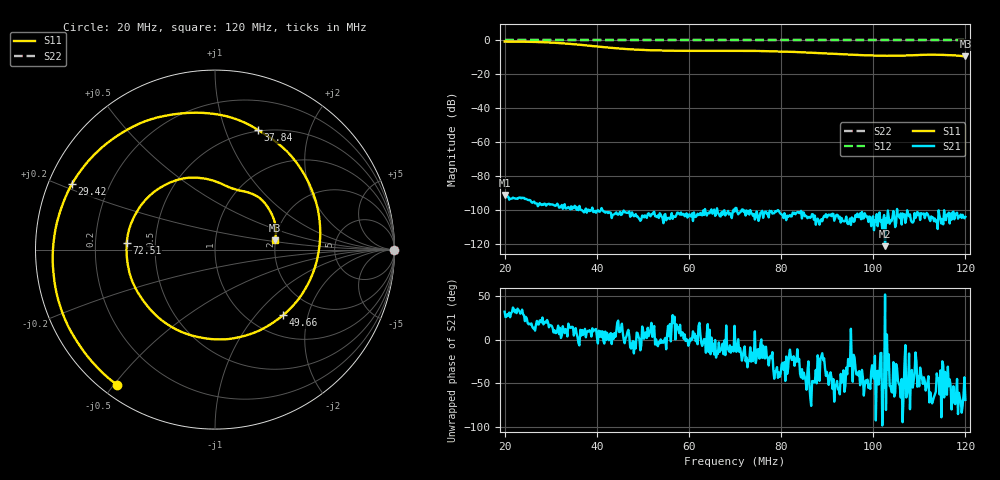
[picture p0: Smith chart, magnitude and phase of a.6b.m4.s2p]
! Anritsu VNA Master:  Model: MS2036C/10/77
! SN:  1601066
! /bd0/18may07/256.ns.m4.s2p
! Existing Calibration Information:
! TYPE:  Current Settings,  Active Cal Settings
! TIME:  05/07/2018 03:05:25 PM,  05/07/2018 02:58:54 PM
! INTERNAL TEMP:  59.5 C,  58.8 C
! # POINTS:  500,  500
! START FREQ:  20.000 MHz,  20.000 MHz
! STOP FREQ:  120.000 MHz,  120.000 MHz
! SOURCE POWER:  High,  High
! IFBW:  50 Hz,  50 Hz
! AVG FACTOR:  1 ,  1
! REF PLANE 1:  0 mm,  0 mm
! REF PLANE 2:  0 mm,  0 mm
! CAL TYPE:  Full S11,  Full S11
! CAL METHOD:  SOLT,  SOLT
! CAL LINE TYPE:  Coax,  Coax
! DUT PORT 1:  K-Conn(F),  K-Conn(F)
! DUT PORT 2:  K-Conn(F),  K-Conn(F)
! CAL STATUS:  OK: Accuracy High,  --
# GHZ S DB R 50.0
! FREQ.GHZ  S11DB  S11A  S21DB  S21A  S12DB  S12A  S22DB  S22A
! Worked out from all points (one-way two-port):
!   500 points, 20 MHz to 120 MHz, reference 50 ohm
!   highest |S21| = -91.01 dB at 20 MHz (marker M1); lowest = -121.2 dB at 102.6 MHz (marker M2)
!   lowest |S11| = -9.5 dB at 120 MHz (marker M3), VSWR 2.02, Z = 98.9 + j11.7 ohm
!   |S11| at or under -10 dB: nowhere
!   |S22| runs from 0.0 to 0.0 dB; largest |S21 - S12| = 1
!   S11 on the Smith chart (normalised r, x): 20 MHz: 0.05, -0.51; 29.42 MHz: 0.07, +0.22; 37.84 MHz: 0.48, +1.30; 49.66 MHz: 1.39, -1.41; 72.51 MHz: 0.34, +0.04; 120 MHz: 1.98, +0.23
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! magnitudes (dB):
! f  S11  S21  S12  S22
! 20 MHz  -0.6  -91.0  0.0  0.0
! 24.61 MHz  -0.7  -93.4  0.0  0.0
! 29.42 MHz  -1.1  -96.4  0.0  0.0
! 33.03 MHz  -1.8  -96.5  0.0  0.0
! 36.83 MHz  -2.7  -100.1  0.0  0.0
! 37.84 MHz  -3.0  -101.5  0.0  0.0
! 44.85 MHz  -4.8  -102.1  0.0  0.0
! 49.66 MHz  -5.6  -105.5  0.0  0.0
! 53.47 MHz  -5.9  -104.6  0.0  0.0
! 63.69 MHz  -6.2  -102.2  0.0  0.0
! 70.1 MHz  -6.1  -98.7  0.0  0.0
! 72.51 MHz  -6.1  -100.2  0.0  0.0
! 79.32 MHz  -6.4  -100.0  0.0  0.0
! 86.73 MHz  -7.2  -102.3  0.0  0.0
! 97.96 MHz  -8.7  -104.8  0.0  0.0
! 102.6 MHz  -9.0  -121.2  0.0  0.0
! 103.4 MHz  -9.0  -104.3  0.0  0.0
! 106 MHz  -9.0  -102.0  0.0  0.0
! 110.8 MHz  -8.5  -102.4  0.0  0.0
! 113 MHz  -8.4  -104.4  0.0  0.0
! 117.2 MHz  -8.7  -101.4  0.0  0.0
! 120 MHz  -9.5  -104.0  0.0  0.0
